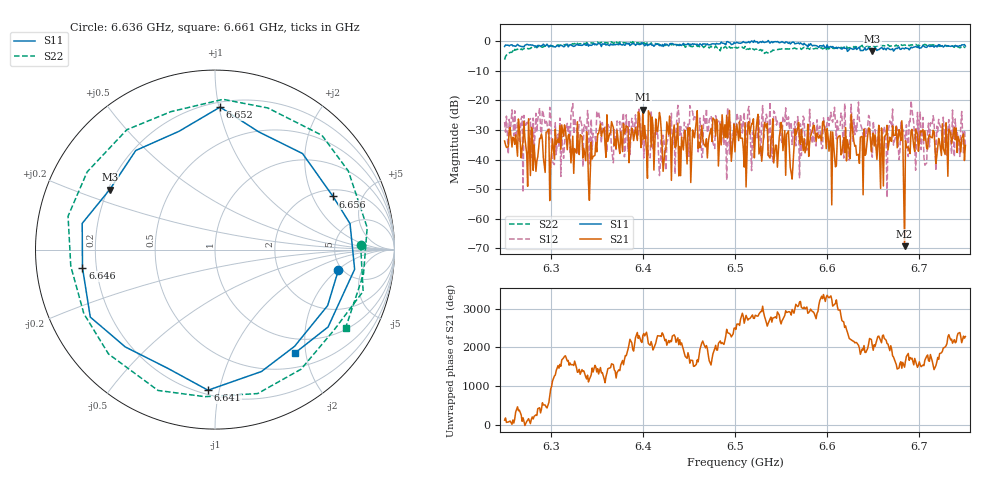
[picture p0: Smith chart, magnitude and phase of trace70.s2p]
# Hz S RI R 50
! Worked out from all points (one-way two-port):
!   401 points, 6.25 GHz to 6.75 GHz, reference 50 ohm
!   highest |S21| = -23.14 dB at 6.4 GHz (marker M1); lowest = -69.3 dB at 6.684 GHz (marker M2)
!   lowest |S11| = -3.4 dB at 6.649 GHz (marker M3), VSWR 5.16, Z = 10.4 + j12.7 ohm
!   |S11| at or under -10 dB: nowhere
!   |S22| runs from -6.2 to 0.0 dB; largest |S21 - S12| = 0.13
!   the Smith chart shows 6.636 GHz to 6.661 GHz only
!   S11 on the Smith chart (normalised r, x): 6.636 GHz: 4.67, -2.05; 6.641 GHz: 0.23, -0.93; 6.646 GHz: 0.15, -0.07; 6.652 GHz: 0.23, +1.01; 6.656 GHz: 2.34, +2.89; 6.661 GHz: 0.73, -1.80
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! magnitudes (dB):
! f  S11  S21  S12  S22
! 6.25 GHz  -1.7  -33.7  -27.3  -6.2
! 6.334 GHz  -1.4  -32.2  -28.9  -0.9
! 6.344 GHz  -1.4  -34.1  -26.3  -0.5
! 6.4 GHz  -0.9  -23.1  -24.2  -0.7
! 6.418 GHz  -1.4  -24.1  -45.4  -1.0
! 6.441 GHz  -1.3  -45.5  -28.8  -1.2
! 6.456 GHz  -0.9  -32.6  -25.0  -1.3
! 6.462 GHz  -0.8  -36.0  -25.9  -2.1
! 6.5 GHz  -0.7  -37.4  -28.9  -2.1
! 6.551 GHz  -0.1  -28.8  -34.2  -2.5
! 6.561 GHz  -0.6  -44.5  -27.6  -2.8
! 6.584 GHz  -1.5  -30.0  -34.4  -2.7
! 6.636 GHz  -3.1  -32.4  -27.8  -1.8
! 6.641 GHz  -2.1  -38.6  -29.5  -1.6
! 6.646 GHz  -2.6  -29.5  -26.1  -1.8
! 6.649 GHz  -3.4  -32.6  -39.2  -1.5
! 6.652 GHz  -2.0  -31.6  -29.8  -1.9
! 6.656 GHz  -2.8  -28.4  -28.8  -1.2
! 6.661 GHz  -2.8  -48.9  -29.6  -1.4
! 6.668 GHz  -2.7  -32.4  -26.9  -1.7
! 6.684 GHz  -2.5  -69.3  -31.5  -1.2
! 6.75 GHz  -1.6  -35.2  -35.8  -2.0
